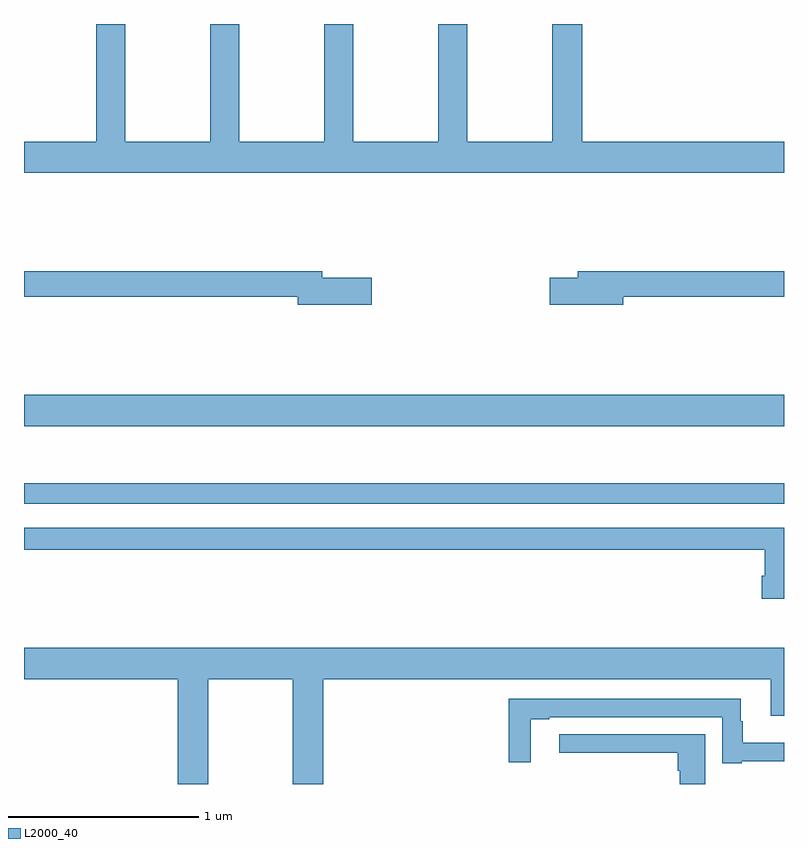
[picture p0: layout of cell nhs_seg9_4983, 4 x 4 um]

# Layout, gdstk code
import gdstk
lib = gdstk.Library(unit=1e-6, precision=1e-09)
def R(c, l, rs):  # rectangles x0, y0, x1, y1
    for r in rs: c.add(gdstk.rectangle(r[:2], r[2:], *l))
def P(c, l, *ps):  # polygons
    for p in ps: c.add(gdstk.Polygon(p, *l))
L2000_40 = (2000, 40)

nhs_seg9_4983 = lib.new_cell('nhs_seg9_4983')
R(nhs_seg9_4983, L2000_40, [(399,1231.974,403,1232.083), (399,1232.384,403,1232.548)])
P(nhs_seg9_4983, L2000_40, [(403,1233.88),(401.939,1233.88),(401.939,1234.5),(401.779,1234.5),(401.779,1233.88),(401.334,1233.88),(401.334,1234.5),(401.179,1234.5),(401.179,1233.88),(400.734,1233.88),(400.734,1234.5),(400.579,1234.5),(400.579,1233.88),(400.134,1233.88),(400.134,1234.5),(399.979,1234.5),(399.979,1233.88),(399.534,1233.88),(399.534,1234.5),(399.379,1234.5),(399.379,1233.88),(399,1233.88),(399,1233.716),(403,1233.716)],
  [(402.154,1233.064),(403,1233.064),(403,1233.2),(401.915,1233.2),(401.915,1233.164),(401.766,1233.164),(401.766,1233.022),(402.154,1233.022)],
  [(400.831,1233.164),(400.57,1233.164),(400.57,1233.2),(399,1233.2),(399,1233.064),(400.442,1233.064),(400.442,1233.022),(400.831,1233.022)],
  [(403,1231.848),(399,1231.848),(399,1231.732),(402.899,1231.732),(402.899,1231.597),(402.884,1231.597),(402.884,1231.475),(403,1231.475)],
  [(399,1231.052),(399.809,1231.052),(399.809,1230.5),(399.969,1230.5),(399.969,1231.052),(400.414,1231.052),(400.414,1230.5),(400.574,1230.5),(400.574,1231.052),(402.929,1231.052),(402.929,1230.858),(403,1230.858),(403,1231.216),(399,1231.216)],
  [(402.778,1230.62),(403,1230.62),(403,1230.718),(402.784,1230.718),(402.784,1230.83),(402.772,1230.83),(402.772,1230.948),(401.551,1230.948),(401.551,1230.615),(401.668,1230.615),(401.668,1230.84),(401.764,1230.84),(401.764,1230.852),(402.675,1230.852),(402.675,1230.609),(402.778,1230.609)],
  [(402.586,1230.762),(401.817,1230.762),(401.817,1230.665),(402.44,1230.665),(402.44,1230.569),(402.452,1230.569),(402.452,1230.5),(402.586,1230.5)])

lib.write_gds('nhs_seg9_4983.gds')
